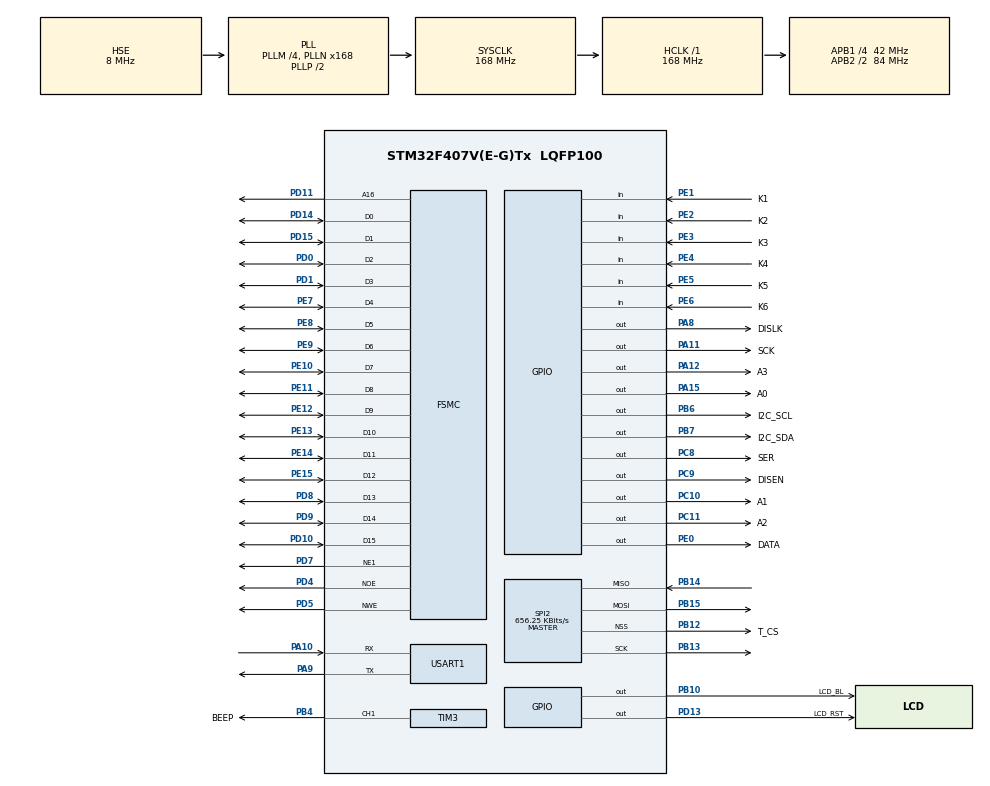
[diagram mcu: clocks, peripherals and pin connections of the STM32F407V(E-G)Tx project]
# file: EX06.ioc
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Dma.Request0=USART1_RX
Dma.Request1=USART1_TX
Dma.USART1_RX.0.Direction=DMA_PERIPH_TO_MEMORY
Dma.USART1_RX.0.FIFOMode=DMA_FIFOMODE_DISABLE
Dma.USART1_RX.0.Instance=DMA2_Stream2
Dma.USART1_RX.0.MemDataAlignment=DMA_MDATAALIGN_BYTE
Dma.USART1_RX.0.MemInc=DMA_MINC_ENABLE
Dma.USART1_RX.0.Mode=DMA_NORMAL
Dma.USART1_RX.0.PeriphDataAlignment=DMA_PDATAALIGN_BYTE
Dma.USART1_RX.0.PeriphInc=DMA_PINC_DISABLE
Dma.USART1_RX.0.Priority=DMA_PRIORITY_LOW
Dma.USART1_TX.1.Direction=DMA_MEMORY_TO_PERIPH
Dma.USART1_TX.1.FIFOMode=DMA_FIFOMODE_DISABLE
Dma.USART1_TX.1.Instance=DMA2_Stream7
Dma.USART1_TX.1.MemDataAlignment=DMA_MDATAALIGN_BYTE
Dma.USART1_TX.1.MemInc=DMA_MINC_ENABLE
Dma.USART1_TX.1.Mode=DMA_NORMAL
Dma.USART1_TX.1.PeriphDataAlignment=DMA_PDATAALIGN_BYTE
Dma.USART1_TX.1.PeriphInc=DMA_PINC_DISABLE
Dma.USART1_TX.1.Priority=DMA_PRIORITY_LOW
FREERTOS.Tasks01=MainTask,8,512,StartMainTask,Default,NULL,Dynamic,NULL,NULL;TaskGUI,8,1024,StartTaskGUI,Default,NULL,Dynamic,NULL,NULL;myTaskKey,16,128,StartTaskKey,Default,NULL,Dynamic,NULL,NULL;myTaskAlarm,8,128,StartTaskAlarm,Default,NULL,Dynamic,NULL,NULL;myTaskMPU6050,8,128,StartTaskMPU6050,Default,NULL,Dynamic,NULL,NULL
FREERTOS.configTOTAL_HEAP_SIZE=32768
FSMC.AddressSetupTime1=2
FSMC.BusTurnAroundDuration1=2
FSMC.DataSetupTime1=2
Mcu.Family=STM32F4
Mcu.Name=STM32F407V(E-G)Tx
Mcu.Package=LQFP100
NVIC.DMA2_Stream2_IRQn=true\:5\:0\:false\:false\:true\:true\:false\:true
NVIC.DMA2_Stream7_IRQn=true\:5\:0\:false\:false\:true\:true\:false\:true
NVIC.PriorityGroup=NVIC_PRIORITYGROUP_4
NVIC.TIM3_IRQn=true\:5\:0\:true\:false\:true\:true\:true\:true
NVIC.TIM5_IRQn=true\:5\:0\:false\:false\:true\:true\:true\:true
NVIC.TIM7_IRQn=true\:15\:0\:false\:false\:true\:false\:false\:true
NVIC.TimeBase=TIM7_IRQn
NVIC.TimeBaseIP=TIM7
PA10.Mode=Asynchronous
PA10.Signal=USART1_RX
PA11.GPIO_Label=SCK
PA11.Signal=GPIO_Output
PA12.GPIO_Label=A3
PA12.Signal=GPIO_Output
PA13.Mode=Serial_Wire
PA13.Signal=SYS_JTMS-SWDIO
PA14.Mode=Serial_Wire
PA14.Signal=SYS_JTCK-SWCLK
PA15.GPIO_Label=A0
PA15.Signal=GPIO_Output
PA8.GPIO_Label=DISLK
PA8.Signal=GPIO_Output
PA9.Mode=Asynchronous
PA9.Signal=USART1_TX
PB10.GPIO_Label=LCD_BL
PB10.Signal=GPIO_Output
PB12.GPIO_Label=T_CS
PB12.Mode=NSS_Signal_Hard_Output
PB12.Signal=SPI2_NSS
PB13.Mode=Full_Duplex_Master
PB13.Signal=SPI2_SCK
PB14.Mode=Full_Duplex_Master
PB14.Signal=SPI2_MISO
PB15.Mode=Full_Duplex_Master
PB15.Signal=SPI2_MOSI
PB4.GPIO_Label=BEEP
PB4.Signal=S_TIM3_CH1
PB6.GPIO_Label=I2C_SCL
PB6.GPIO_ModeDefaultOutputPP=GPIO_MODE_OUTPUT_OD
PB6.GPIO_PuPd=GPIO_NOPULL
PB6.Signal=GPIO_Output
PB7.GPIO_Label=I2C_SDA
PB7.GPIO_ModeDefaultOutputPP=GPIO_MODE_OUTPUT_OD
PB7.GPIO_PuPd=GPIO_NOPULL
PB7.Signal=GPIO_Output
PC10.GPIO_Label=A1
PC10.Signal=GPIO_Output
PC11.GPIO_Label=A2
PC11.Signal=GPIO_Output
PC14-OSC32_IN.Mode=LSE-External-Oscillator
PC14-OSC32_IN.Signal=RCC_OSC32_IN
PC15-OSC32_OUT.Mode=LSE-External-Oscillator
PC15-OSC32_OUT.Signal=RCC_OSC32_OUT
PC8.GPIO_Label=SER
PC8.Signal=GPIO_Output
PC9.GPIO_Label=DISEN
PC9.Signal=GPIO_Output
PD0.Mode=16b-d1
PD0.Signal=FSMC_D2
PD1.Mode=16b-d1
PD1.Signal=FSMC_D3
PD10.Mode=16b-d1
PD10.Signal=FSMC_D15
PD11.Mode=A16_1
PD11.Signal=FSMC_A16
PD13.GPIO_Label=LCD_RST
PD13.Signal=GPIO_Output
PD14.Mode=16b-d1
PD14.Signal=FSMC_D0
PD15.Mode=16b-d1
PD15.Signal=FSMC_D1
PD4.Mode=Lcd1
PD4.Signal=FSMC_NOE
PD5.Mode=Lcd1
PD5.Signal=FSMC_NWE
PD7.Mode=NorPsramChipSelect1_1
PD7.Signal=FSMC_NE1
PD8.Mode=16b-d1
PD8.Signal=FSMC_D13
PD9.Mode=16b-d1
PD9.Signal=FSMC_D14
PE0.GPIO_Label=DATA
PE0.Signal=GPIO_Output
PE1.GPIO_Label=K1
PE1.GPIO_Mode=GPIO_MODE_INPUT
PE1.GPIO_PuPd=GPIO_PULLUP
PE1.Signal=GPIO_Input
PE10.Mode=16b-d1
PE10.Signal=FSMC_D7
PE11.Mode=16b-d1
PE11.Signal=FSMC_D8
PE12.Mode=16b-d1
PE12.Signal=FSMC_D9
PE13.Mode=16b-d1
PE13.Signal=FSMC_D10
PE14.Mode=16b-d1
PE14.Signal=FSMC_D11
PE15.Mode=16b-d1
PE15.Signal=FSMC_D12
PE2.GPIO_Label=K2
PE2.GPIO_Mode=GPIO_MODE_INPUT
PE2.GPIO_PuPd=GPIO_PULLUP
PE2.Signal=GPIO_Input
PE3.GPIO_Label=K3
PE3.GPIO_Mode=GPIO_MODE_INPUT
PE3.GPIO_PuPd=GPIO_PULLUP
PE3.Signal=GPIO_Input
PE4.GPIO_Label=K4
PE4.GPIO_Mode=GPIO_MODE_INPUT
PE4.GPIO_PuPd=GPIO_PULLUP
PE4.Signal=GPIO_Input
PE5.GPIO_Label=K5
PE5.GPIO_Mode=GPIO_MODE_INPUT
PE5.GPIO_PuPd=GPIO_PULLDOWN
PE5.Signal=GPIO_Input
PE6.GPIO_Label=K6
PE6.GPIO_Mode=GPIO_MODE_INPUT
PE6.GPIO_PuPd=GPIO_PULLDOWN
PE6.Signal=GPIO_Input
PE7.Mode=16b-d1
PE7.Signal=FSMC_D4
PE8.Mode=16b-d1
PE8.Signal=FSMC_D5
PE9.Mode=16b-d1
PE9.Signal=FSMC_D6
PH0-OSC_IN.Mode=HSE-External-Oscillator
PH0-OSC_IN.Signal=RCC_OSC_IN
PH1-OSC_OUT.Mode=HSE-External-Oscillator
PH1-OSC_OUT.Signal=RCC_OSC_OUT
ProjectManager.HeapSize=0x2000
ProjectManager.StackSize=0x4000
ProjectManager.TargetToolchain=MDK-ARM V5.32
RCC.48MHZClocksFreq_Value=84000000
RCC.AHBFreq_Value=168000000
RCC.APB1CLKDivider=RCC_HCLK_DIV4
RCC.APB1Freq_Value=42000000
RCC.APB1TimFreq_Value=84000000
RCC.APB2CLKDivider=RCC_HCLK_DIV2
RCC.APB2Freq_Value=84000000
RCC.APB2TimFreq_Value=168000000
RCC.CortexFreq_Value=168000000
RCC.HCLKFreq_Value=168000000
RCC.HSE_VALUE=8000000
RCC.HSI_VALUE=16000000
RCC.PLLM=4
RCC.PLLN=168
RCC.PLLSourceVirtual=RCC_PLLSOURCE_HSE
RCC.RCC_RTC_Clock_Source=RCC_RTCCLKSOURCE_LSE
RCC.RCC_RTC_Clock_SourceVirtual=RCC_RTCCLKSOURCE_LSE
RCC.SYSCLKFreq_VALUE=168000000
RCC.SYSCLKSource=RCC_SYSCLKSOURCE_PLLCLK
RCC.VCOOutputFreq_Value=336000000
RTC.Date=30
RTC.Format=RTC_FORMAT_BIN
RTC.Hours=23
RTC.Minutes=59
RTC.Month=RTC_MONTH_DECEMBER
RTC.Seconds=55
RTC.WeekDay=RTC_WEEKDAY_FRIDAY
RTC.Year=23
SH.S_TIM3_CH1.0=TIM3_CH1,PWM Generation1 CH1
SPI2.BaudRatePrescaler=SPI_BAUDRATEPRESCALER_64
SPI2.CRCCalculation=SPI_CRCCALCULATION_ENABLE
SPI2.CalculateBaudRate=656.25 KBits/s
SPI2.Direction=SPI_DIRECTION_2LINES
SPI2.Mode=SPI_MODE_MASTER
SPI2.VirtualNSS=VM_NSSHARD
SPI2.VirtualType=VM_MASTER
TIM3.AutoReloadPreload=TIM_AUTORELOAD_PRELOAD_ENABLE
TIM3.Channel-PWM\ Generation1\ CH1=TIM_CHANNEL_1
TIM3.Period=1000 - 1
TIM3.Prescaler=84 - 1
TIM3.Pulse-PWM\ Generation1\ CH1=500
TIM5.AutoReloadPreload=TIM_AUTORELOAD_PRELOAD_ENABLE
TIM5.Period=1000 - 1
TIM5.Prescaler=84 - 1
USART1.VirtualMode=VM_ASYNC
VP_CRC_VS_CRC.Mode=CRC_Activate
VP_FREERTOS_VS_CMSIS_V2.Mode=CMSIS_V2
VP_RTC_VS_RTC_Activate.Mode=RTC_Enabled
VP_RTC_VS_RTC_Calendar.Mode=RTC_Calendar
VP_SYS_VS_tim7.Mode=TIM7
VP_TIM3_VS_ClockSourceINT.Mode=Internal
VP_TIM5_VS_ClockSourceINT.Mode=Internal
board=custom

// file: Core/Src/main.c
/* USER CODE BEGIN Header */
/**
  ******************************************************************************
  * @file           : main.c
  * @brief          : Main program body
  ******************************************************************************
  * @attention
  *
  * Copyright (c) 2023 STMicroelectronics.
  * All rights reserved.
  *
  * This software is licensed under terms that can be found in the LICENSE file
  * in the root directory of this software component.
  * If no LICENSE file comes with this software, it is provided AS-IS.
  *
  ******************************************************************************
  */
/* USER CODE END Header */
#include "main.h"
#include "cmsis_os.h"
#include "crc.h"
#include "dma.h"
#include "rtc.h"
#include "spi.h"
#include "tim.h"
#include "usart.h"
#include "gpio.h"
#include "fsmc.h"

/* USER CODE BEGIN Includes */
#include "stdio.h"
#include "variables.h"

/* USER CODE END Includes */

void SystemClock_Config(void);
void MX_FREERTOS_Init(void);

int main(void)
{

  /* MCU Configuration--------------------------------------------------------*/

  /* Reset of all peripherals, Initializes the Flash interface and the Systick. */
  HAL_Init();

  /* Configure the system clock */
  SystemClock_Config();

  /* Initialize all configured peripherals */
  MX_GPIO_Init();
  MX_USART1_UART_Init();
  MX_DMA_Init();
  MX_CRC_Init();
  MX_FSMC_Init();
  MX_SPI2_Init();
  MX_TIM5_Init();
  MX_TIM3_Init();
  MX_RTC_Init();

  /* Init scheduler */
  osKernelInitialize();  /* Call init function for freertos objects (in freertos.c) */
  MX_FREERTOS_Init();
  /* Start scheduler */
  osKernelStart();

  /* We should never get here as control is now taken by the scheduler */
  /* Infinite loop */
  while (1)
  {

  }
}

void SystemClock_Config(void)
{
  RCC_OscInitTypeDef RCC_OscInitStruct = {0};
  RCC_ClkInitTypeDef RCC_ClkInitStruct = {0};

  /** Configure the main internal regulator output voltage
  */
  __HAL_RCC_PWR_CLK_ENABLE();
  __HAL_PWR_VOLTAGESCALING_CONFIG(PWR_REGULATOR_VOLTAGE_SCALE1);
  /** Initializes the RCC Oscillators according to the specified parameters
  * in the RCC_OscInitTypeDef structure.
  */
  RCC_OscInitStruct.OscillatorType = RCC_OSCILLATORTYPE_HSE|RCC_OSCILLATORTYPE_LSE;
  RCC_OscInitStruct.HSEState = RCC_HSE_ON;
  RCC_OscInitStruct.LSEState = RCC_LSE_ON;
  RCC_OscInitStruct.PLL.PLLState = RCC_PLL_ON;
  RCC_OscInitStruct.PLL.PLLSource = RCC_PLLSOURCE_HSE;
  RCC_OscInitStruct.PLL.PLLM = 4;
  RCC_OscInitStruct.PLL.PLLN = 168;
  RCC_OscInitStruct.PLL.PLLP = RCC_PLLP_DIV2;
  RCC_OscInitStruct.PLL.PLLQ = 4;
  if (HAL_RCC_OscConfig(&RCC_OscInitStruct) != HAL_OK)
  {
    Error_Handler();
  }
  /** Initializes the CPU, AHB and APB buses clocks
  */
  RCC_ClkInitStruct.ClockType = RCC_CLOCKTYPE_HCLK|RCC_CLOCKTYPE_SYSCLK
                              |RCC_CLOCKTYPE_PCLK1|RCC_CLOCKTYPE_PCLK2;
  RCC_ClkInitStruct.SYSCLKSource = RCC_SYSCLKSOURCE_PLLCLK;
  RCC_ClkInitStruct.AHBCLKDivider = RCC_SYSCLK_DIV1;
  RCC_ClkInitStruct.APB1CLKDivider = RCC_HCLK_DIV4;
  RCC_ClkInitStruct.APB2CLKDivider = RCC_HCLK_DIV2;

  if (HAL_RCC_ClockConfig(&RCC_ClkInitStruct, FLASH_LATENCY_5) != HAL_OK)
  {
    Error_Handler();
  }
}

void HAL_TIM_PeriodElapsedCallback(TIM_HandleTypeDef *htim)
{
  if (htim->Instance == TIM7) {
    HAL_IncTick();
  }
  /* USER CODE BEGIN Callback 1 */

    if (htim->Instance == TIM5)
    {
		tim5_count++;

		if(tim5_count == 2)
		{
			tim5_count = 0;
			// 停止PWM和定时器3
			HAL_TIM_PWM_Stop(&htim3, TIM_CHANNEL_1);
			HAL_TIM_Base_Stop_IT(&htim5);
		}

    }
  /* USER CODE END Callback 1 */
}

void Error_Handler(void)
{
  __disable_irq();
  while (1)
  {
  }
}

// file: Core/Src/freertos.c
/* USER CODE BEGIN Header */
/**
  ******************************************************************************
  * File Name          : freertos.c
  * Description        : Code for freertos applications
  ******************************************************************************
  * @attention
  *
  * Copyright (c) 2023 STMicroelectronics.
  * All rights reserved.
  *
  * This software is licensed under terms that can be found in the LICENSE file
  * in the root directory of this software component.
  * If no LICENSE file comes with this software, it is provided AS-IS.
  *
  ******************************************************************************
  */
/* USER CODE END Header */

#include "FreeRTOS.h"
#include "task.h"
#include "main.h"
#include "cmsis_os.h"

/* USER CODE BEGIN Includes */
#include "gpio.h"
#include "usart.h"
#include "math.h"
#include "stdio.h"
#include "string.h"
#include "stdlib.h"
#include <ctype.h>

#include "GUI.h"
#include "lcd_drv.h"
#include "DS18B20.h"
#include "touch.h"
#include "DIALOG.h"
#include "Beep.h"
#include "GUI_func.h"
#include "key.h"
#include "variables.h"
#include "music.h"
#include "MPU6050.h"

/* USER CODE END Includes */

/* USER CODE BEGIN PD */
#define WIDTH 	320
#define HIGH	240
#define LIMIT(x, min, max) ((x) < (min) ? (min) : ((x) > (max) ? (max) : (x)))

/* USER CODE END PD */

/* Definitions for MainTask */
osThreadId_t MainTaskHandle;
const osThreadAttr_t MainTask_attributes = {
  .name = "MainTask",
  .stack_size = 512 * 4,
  .priority = (osPriority_t) osPriorityLow,
};
/* Definitions for TaskGUI */
osThreadId_t TaskGUIHandle;
const osThreadAttr_t TaskGUI_attributes = {
  .name = "TaskGUI",
  .stack_size = 1024 * 4,
  .priority = (osPriority_t) osPriorityLow,
};
/* Definitions for myTaskKey */
osThreadId_t myTaskKeyHandle;
const osThreadAttr_t myTaskKey_attributes = {
  .name = "myTaskKey",
  .stack_size = 128 * 4,
  .priority = (osPriority_t) osPriorityBelowNormal,
};
/* Definitions for myTaskAlarm */
osThreadId_t myTaskAlarmHandle;
const osThreadAttr_t myTaskAlarm_attributes = {
  .name = "myTaskAlarm",
  .stack_size = 128 * 4,
  .priority = (osPriority_t) osPriorityLow,
};
/* Definitions for myTaskMPU6050 */
osThreadId_t myTaskMPU6050Handle;
const osThreadAttr_t myTaskMPU6050_attributes = {
  .name = "myTaskMPU6050",
  .stack_size = 128 * 4,
  .priority = (osPriority_t) osPriorityLow,
};

void StartMainTask(void *argument);
void StartTaskGUI(void *argument);
void StartTaskKey(void *argument);
void StartTaskAlarm(void *argument);
void StartTaskMPU6050(void *argument);

void MX_FREERTOS_Init(void); /* (MISRA C 2004 rule 8.1) */

void MX_FREERTOS_Init(void) {

  /* Create the thread(s) */
  /* creation of MainTask */
  MainTaskHandle = osThreadNew(StartMainTask, NULL, &MainTask_attributes);

  /* creation of TaskGUI */
  TaskGUIHandle = osThreadNew(StartTaskGUI, NULL, &TaskGUI_attributes);

  /* creation of myTaskKey */
  myTaskKeyHandle = osThreadNew(StartTaskKey, NULL, &myTaskKey_attributes);

  /* creation of myTaskAlarm */
  myTaskAlarmHandle = osThreadNew(StartTaskAlarm, NULL, &myTaskAlarm_attributes);

  /* creation of myTaskMPU6050 */
  myTaskMPU6050Handle = osThreadNew(StartTaskMPU6050, NULL, &myTaskMPU6050_attributes);

}

void StartMainTask(void *argument)
{
  /* USER CODE BEGIN StartMainTask */
    key_init    (1);
    MPU_init    ();
    GUI_My_Init ();
  /* Infinite loop */
  for(;;)
  {
    //闹铃图表闪烁
    if(flag_alarm) warning();

    osDelay(1);
  }
  /* USER CODE END StartMainTask */
}

void StartTaskGUI(void *argument)
{
  /* USER CODE BEGIN StartTaskGUI */
  /* Infinite loop */

	osDelay(100);
	GUI_Init();
    GUI_My_Init();
    GUI_Clear();

    GUI_DrawBitmap(&bmHDU, 100, 20);
    osDelay(1000);
     GUI_DispStringAt("简易电子钟设计", 80, 140);
    osDelay(2000);
    GUI_DispStringAt("22040932徐晨茗", 80, 170);
    osDelay(2000);

    //菜单初始化
    menu_init();

    for(;;)
    {
        //menu0 1 时间实时刷新
        if(gui_menu == 0 || gui_menu == 1) show_time();

        //基于按键的界面切换
        switch_menu();

        osDelay(1);
    }
  /* USER CODE END StartTaskGUI */
}

void StartTaskKey(void *argument)
{
  /* USER CODE BEGIN StartTaskKey */

  /* Infinite loop */
  for(;;)
  {
    //按键扫描
    key_scanner();
    osDelay(1);
  }
  /* USER CODE END StartTaskKey */
}

void StartTaskAlarm(void *argument)
{
  /* USER CODE BEGIN StartTaskAlarm */
  /* Infinite loop */
    for(;;)
    {
        //闹铃判断
        alarm_detect();
        osDelay(1);
    }
  /* USER CODE END StartTaskAlarm */
}

void StartTaskMPU6050(void *argument)
{
  /* USER CODE BEGIN StartTaskMPU6050 */
  /* Infinite loop */
  for(;;)
  {
    if(gyro_detect()) flag_alarm = 0;
    osDelay(1);
  }
  /* USER CODE END StartTaskMPU6050 */
}

/* USER CODE BEGIN Application */

void HAL_UARTEx_ReEventCallback(UART_HandleTypeDef *huart, uint16 Size)
{
	huart -> gState = HAL_UART_STATE_READY;
}

void HAL_UARTEx_RxEventCallback(UART_HandleTypeDef *huart, uint16_t Size)
{

	// 串口1接收数据处理
//	if (huart == &huart1)
//	{
//	  HAL_UART_DMAStop(huart);  // 停止DMA请求
//
//	  rx1_buf[Size] = '\0';      // 末尾加字符串结束符
//
//	  osMessageQueuePut(QueueUart1Handle, rx1_buf, NULL, 0);  // 发送消息到队列1
//
//	  // 重启串口1的DMA接收
//	  __HAL_UNLOCK(huart);
//
//	  HAL_UARTEx_ReceiveToIdle_DMA(&huart1, rx1_buf, sizeof(rx1_buf));
//	}

	// 串口6接收数据处理
//	if (huart == &huart6)
//	{
//		HAL_UART_DMAStop(huart);   // 停止DMA请求
//
//		rx6_buf[Size] = '\0';      // 末尾加字符串结束符
//
//		osMessageQueuePut(QueueUart6Handle, rx6_buf, NULL, 0); // 发送消息到队列6
//
//		// 重启串口6的DMA接收
//		__HAL_UNLOCK(huart);
//
//		HAL_UARTEx_ReceiveToIdle_DMA(&huart6, rx6_buf, sizeof(rx6_buf));
//	}
}

/* USER CODE END Application */
